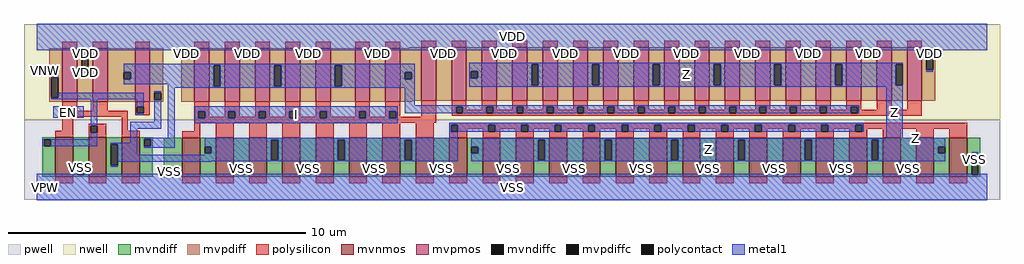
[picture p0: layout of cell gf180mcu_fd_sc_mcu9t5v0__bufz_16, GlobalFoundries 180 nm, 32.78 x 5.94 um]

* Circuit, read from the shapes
.subckt gf180mcu_fd_sc_mcu9t5v0__bufz_16 EN I Z VDD VNW VPW VSS
XM1 VSS EN n1 VPW nfet_06v0 w=1.32u l=0.6u
XM2 n2 n1 VSS VPW nfet_06v0 w=1.32u l=0.6u
XM3 n3 EN n2 VPW nfet_06v0 w=1.32u l=0.6u
XM4 n2 I VSS VPW nfet_06v0 w=1.32u l=0.6u m=8
XM5 Z n2 VSS VPW nfet_06v0 w=1.32u l=0.6u m=16
XM6 VDD EN n1 VNW pfet_06v0 w=1.8u l=0.5u
XM7 n3 EN VDD VNW pfet_06v0 w=1.8u l=0.5u
XM8 n2 n1 n3 VNW pfet_06v0 w=1.8u l=0.5u
XM9 n3 I VDD VNW pfet_06v0 w=1.8u l=0.5u m=8
XM10 Z n3 VDD VNW pfet_06v0 w=1.8u l=0.5u m=16
.ends

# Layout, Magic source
magic
tech gf180mcuD
magscale 1 10
<< nwell >>
rect -86 453 6470 1094
<< pwell >>
rect -86 -86 6470 453
<< mvnmos >>
rect 124 69 244 333
rect 348 69 468 333
rect 572 69 692 333
rect 978 68 1098 332
rect 1202 68 1322 332
rect 1426 68 1546 332
rect 1650 68 1770 332
rect 1874 68 1994 332
rect 2098 68 2218 332
rect 2322 68 2442 332
rect 2546 68 2666 332
rect 2770 68 2890 332
rect 2994 68 3114 332
rect 3218 68 3338 332
rect 3442 68 3562 332
rect 3666 68 3786 332
rect 3890 68 4010 332
rect 4114 68 4234 332
rect 4338 68 4458 332
rect 4562 68 4682 332
rect 4786 68 4906 332
rect 5010 68 5130 332
rect 5234 68 5354 332
rect 5458 68 5578 332
rect 5682 68 5802 332
rect 5906 68 6026 332
rect 6130 68 6250 332
<< mvpmos >>
rect 172 573 272 933
rect 376 573 476 933
rect 660 573 760 933
rect 1058 573 1158 933
rect 1262 573 1362 933
rect 1466 573 1566 933
rect 1670 573 1770 933
rect 1874 573 1974 933
rect 2138 573 2238 933
rect 2342 573 2442 933
rect 2582 580 2682 940
rect 2786 580 2886 940
rect 2990 580 3090 940
rect 3194 580 3294 940
rect 3398 580 3498 940
rect 3602 580 3702 940
rect 3806 580 3906 940
rect 4010 580 4110 940
rect 4214 580 4314 940
rect 4418 580 4518 940
rect 4622 580 4722 940
rect 4826 580 4926 940
rect 5030 580 5130 940
rect 5234 580 5334 940
rect 5438 580 5538 940
rect 5642 580 5742 940
rect 5846 580 5946 940
<< mvndiff >>
rect 36 320 124 333
rect 36 274 49 320
rect 95 274 124 320
rect 36 69 124 274
rect 244 128 348 333
rect 244 82 273 128
rect 319 82 348 128
rect 244 69 348 82
rect 468 287 572 333
rect 468 147 497 287
rect 543 147 572 287
rect 468 69 572 147
rect 692 320 780 333
rect 692 274 721 320
rect 767 274 780 320
rect 692 69 780 274
rect 852 125 978 332
rect 852 79 865 125
rect 911 79 978 125
rect 852 68 978 79
rect 1098 272 1202 332
rect 1098 226 1127 272
rect 1173 226 1202 272
rect 1098 68 1202 226
rect 1322 127 1426 332
rect 1322 81 1351 127
rect 1397 81 1426 127
rect 1322 68 1426 81
rect 1546 319 1650 332
rect 1546 179 1575 319
rect 1621 179 1650 319
rect 1546 68 1650 179
rect 1770 127 1874 332
rect 1770 81 1799 127
rect 1845 81 1874 127
rect 1770 68 1874 81
rect 1994 319 2098 332
rect 1994 179 2023 319
rect 2069 179 2098 319
rect 1994 68 2098 179
rect 2218 127 2322 332
rect 2218 81 2247 127
rect 2293 81 2322 127
rect 2218 68 2322 81
rect 2442 319 2546 332
rect 2442 179 2471 319
rect 2517 179 2546 319
rect 2442 68 2546 179
rect 2666 127 2770 332
rect 2666 81 2695 127
rect 2741 81 2770 127
rect 2666 68 2770 81
rect 2890 272 2994 332
rect 2890 226 2919 272
rect 2965 226 2994 272
rect 2890 68 2994 226
rect 3114 127 3218 332
rect 3114 81 3143 127
rect 3189 81 3218 127
rect 3114 68 3218 81
rect 3338 319 3442 332
rect 3338 179 3367 319
rect 3413 179 3442 319
rect 3338 68 3442 179
rect 3562 127 3666 332
rect 3562 81 3591 127
rect 3637 81 3666 127
rect 3562 68 3666 81
rect 3786 319 3890 332
rect 3786 179 3815 319
rect 3861 179 3890 319
rect 3786 68 3890 179
rect 4010 127 4114 332
rect 4010 81 4039 127
rect 4085 81 4114 127
rect 4010 68 4114 81
rect 4234 319 4338 332
rect 4234 179 4263 319
rect 4309 179 4338 319
rect 4234 68 4338 179
rect 4458 127 4562 332
rect 4458 81 4487 127
rect 4533 81 4562 127
rect 4458 68 4562 81
rect 4682 319 4786 332
rect 4682 179 4711 319
rect 4757 179 4786 319
rect 4682 68 4786 179
rect 4906 127 5010 332
rect 4906 81 4935 127
rect 4981 81 5010 127
rect 4906 68 5010 81
rect 5130 319 5234 332
rect 5130 179 5159 319
rect 5205 179 5234 319
rect 5130 68 5234 179
rect 5354 127 5458 332
rect 5354 81 5383 127
rect 5429 81 5458 127
rect 5354 68 5458 81
rect 5578 319 5682 332
rect 5578 179 5607 319
rect 5653 179 5682 319
rect 5578 68 5682 179
rect 5802 127 5906 332
rect 5802 81 5831 127
rect 5877 81 5906 127
rect 5802 68 5906 81
rect 6026 272 6130 332
rect 6026 226 6055 272
rect 6101 226 6130 272
rect 6026 68 6130 226
rect 6250 221 6338 332
rect 6250 81 6279 221
rect 6325 81 6338 221
rect 6250 68 6338 81
rect 852 66 918 68
<< mvpdiff >>
rect 2502 933 2582 940
rect 84 739 172 933
rect 84 599 97 739
rect 143 599 172 739
rect 84 573 172 599
rect 272 920 376 933
rect 272 780 301 920
rect 347 780 376 920
rect 272 573 376 780
rect 476 771 660 933
rect 476 725 585 771
rect 631 725 660 771
rect 476 573 660 725
rect 760 632 848 933
rect 760 586 789 632
rect 835 586 848 632
rect 760 573 848 586
rect 970 920 1058 933
rect 970 874 983 920
rect 1029 874 1058 920
rect 970 573 1058 874
rect 1158 817 1262 933
rect 1158 677 1187 817
rect 1233 677 1262 817
rect 1158 573 1262 677
rect 1362 920 1466 933
rect 1362 874 1391 920
rect 1437 874 1466 920
rect 1362 573 1466 874
rect 1566 817 1670 933
rect 1566 677 1595 817
rect 1641 677 1670 817
rect 1566 573 1670 677
rect 1770 920 1874 933
rect 1770 874 1799 920
rect 1845 874 1874 920
rect 1770 573 1874 874
rect 1974 817 2138 933
rect 1974 677 2003 817
rect 2049 677 2138 817
rect 1974 573 2138 677
rect 2238 920 2342 933
rect 2238 874 2267 920
rect 2313 874 2342 920
rect 2238 573 2342 874
rect 2442 770 2582 933
rect 2442 724 2471 770
rect 2517 724 2582 770
rect 2442 580 2582 724
rect 2682 927 2786 940
rect 2682 881 2711 927
rect 2757 881 2786 927
rect 2682 580 2786 881
rect 2886 778 2990 940
rect 2886 732 2915 778
rect 2961 732 2990 778
rect 2886 580 2990 732
rect 3090 927 3194 940
rect 3090 881 3119 927
rect 3165 881 3194 927
rect 3090 580 3194 881
rect 3294 824 3398 940
rect 3294 684 3323 824
rect 3369 684 3398 824
rect 3294 580 3398 684
rect 3498 927 3602 940
rect 3498 881 3527 927
rect 3573 881 3602 927
rect 3498 580 3602 881
rect 3702 824 3806 940
rect 3702 684 3731 824
rect 3777 684 3806 824
rect 3702 580 3806 684
rect 3906 927 4010 940
rect 3906 881 3935 927
rect 3981 881 4010 927
rect 3906 580 4010 881
rect 4110 824 4214 940
rect 4110 684 4139 824
rect 4185 684 4214 824
rect 4110 580 4214 684
rect 4314 927 4418 940
rect 4314 881 4343 927
rect 4389 881 4418 927
rect 4314 580 4418 881
rect 4518 824 4622 940
rect 4518 684 4547 824
rect 4593 684 4622 824
rect 4518 580 4622 684
rect 4722 927 4826 940
rect 4722 881 4751 927
rect 4797 881 4826 927
rect 4722 580 4826 881
rect 4926 824 5030 940
rect 4926 684 4955 824
rect 5001 684 5030 824
rect 4926 580 5030 684
rect 5130 927 5234 940
rect 5130 881 5159 927
rect 5205 881 5234 927
rect 5130 580 5234 881
rect 5334 824 5438 940
rect 5334 684 5363 824
rect 5409 684 5438 824
rect 5334 580 5438 684
rect 5538 927 5642 940
rect 5538 881 5567 927
rect 5613 881 5642 927
rect 5538 580 5642 881
rect 5742 824 5846 940
rect 5742 684 5771 824
rect 5817 684 5846 824
rect 5742 580 5846 684
rect 5946 927 6034 940
rect 5946 787 5975 927
rect 6021 787 6034 927
rect 5946 580 6034 787
rect 2442 573 2522 580
<< mvndiffc >>
rect 49 274 95 320
rect 273 82 319 128
rect 497 147 543 287
rect 721 274 767 320
rect 865 79 911 125
rect 1127 226 1173 272
rect 1351 81 1397 127
rect 1575 179 1621 319
rect 1799 81 1845 127
rect 2023 179 2069 319
rect 2247 81 2293 127
rect 2471 179 2517 319
rect 2695 81 2741 127
rect 2919 226 2965 272
rect 3143 81 3189 127
rect 3367 179 3413 319
rect 3591 81 3637 127
rect 3815 179 3861 319
rect 4039 81 4085 127
rect 4263 179 4309 319
rect 4487 81 4533 127
rect 4711 179 4757 319
rect 4935 81 4981 127
rect 5159 179 5205 319
rect 5383 81 5429 127
rect 5607 179 5653 319
rect 5831 81 5877 127
rect 6055 226 6101 272
rect 6279 81 6325 221
<< mvpdiffc >>
rect 97 599 143 739
rect 301 780 347 920
rect 585 725 631 771
rect 789 586 835 632
rect 983 874 1029 920
rect 1187 677 1233 817
rect 1391 874 1437 920
rect 1595 677 1641 817
rect 1799 874 1845 920
rect 2003 677 2049 817
rect 2267 874 2313 920
rect 2471 724 2517 770
rect 2711 881 2757 927
rect 2915 732 2961 778
rect 3119 881 3165 927
rect 3323 684 3369 824
rect 3527 881 3573 927
rect 3731 684 3777 824
rect 3935 881 3981 927
rect 4139 684 4185 824
rect 4343 881 4389 927
rect 4547 684 4593 824
rect 4751 881 4797 927
rect 4955 684 5001 824
rect 5159 881 5205 927
rect 5363 684 5409 824
rect 5567 881 5613 927
rect 5771 684 5817 824
rect 5975 787 6021 927
<< polysilicon >>
rect 172 933 272 977
rect 376 933 476 977
rect 660 933 760 977
rect 1058 933 1158 977
rect 1262 933 1362 977
rect 1466 933 1566 977
rect 1670 933 1770 977
rect 1874 933 1974 977
rect 2138 933 2238 977
rect 2342 933 2442 977
rect 2582 940 2682 984
rect 2786 940 2886 984
rect 2990 940 3090 984
rect 3194 940 3294 984
rect 3398 940 3498 984
rect 3602 940 3702 984
rect 3806 940 3906 984
rect 4010 940 4110 984
rect 4214 940 4314 984
rect 4418 940 4518 984
rect 4622 940 4722 984
rect 4826 940 4926 984
rect 5030 940 5130 984
rect 5234 940 5334 984
rect 5438 940 5538 984
rect 5642 940 5742 984
rect 5846 940 5946 984
rect 172 523 272 573
rect 172 477 185 523
rect 231 513 272 523
rect 376 513 476 573
rect 660 540 760 573
rect 231 477 612 513
rect 660 494 673 540
rect 719 494 760 540
rect 660 481 760 494
rect 1058 509 1158 573
rect 172 473 612 477
rect 172 377 244 473
rect 124 333 244 377
rect 348 412 468 425
rect 348 366 361 412
rect 407 366 468 412
rect 348 333 468 366
rect 572 377 612 473
rect 1058 463 1085 509
rect 1131 473 1158 509
rect 1262 509 1362 573
rect 1262 473 1287 509
rect 1131 463 1287 473
rect 1333 473 1362 509
rect 1466 509 1566 573
rect 1466 473 1492 509
rect 1333 463 1492 473
rect 1538 473 1566 509
rect 1670 509 1770 573
rect 1670 473 1695 509
rect 1538 463 1695 473
rect 1741 473 1770 509
rect 1874 509 1974 573
rect 1874 473 1901 509
rect 1741 463 1901 473
rect 1947 473 1974 509
rect 2138 509 2238 573
rect 2138 473 2165 509
rect 1947 463 2165 473
rect 2211 473 2238 509
rect 2342 509 2442 573
rect 2342 473 2369 509
rect 2211 463 2369 473
rect 2415 473 2442 509
rect 2582 473 2682 580
rect 2786 540 2886 580
rect 2786 494 2816 540
rect 2862 520 2886 540
rect 2990 540 3090 580
rect 2990 520 3019 540
rect 2862 494 3019 520
rect 3065 520 3090 540
rect 3194 540 3294 580
rect 3194 520 3223 540
rect 3065 494 3223 520
rect 3269 520 3294 540
rect 3398 540 3498 580
rect 3398 520 3427 540
rect 3269 494 3427 520
rect 3473 520 3498 540
rect 3602 540 3702 580
rect 3602 520 3629 540
rect 3473 494 3629 520
rect 3675 520 3702 540
rect 3806 540 3906 580
rect 3806 520 3833 540
rect 3675 494 3833 520
rect 3879 520 3906 540
rect 4010 540 4110 580
rect 4010 520 4038 540
rect 3879 494 4038 520
rect 4084 520 4110 540
rect 4214 540 4314 580
rect 4214 520 4241 540
rect 4084 494 4241 520
rect 4287 520 4314 540
rect 4418 540 4518 580
rect 4418 520 4447 540
rect 4287 494 4447 520
rect 4493 520 4518 540
rect 4622 540 4722 580
rect 4622 520 4651 540
rect 4493 494 4651 520
rect 4697 520 4722 540
rect 4826 540 4926 580
rect 4826 520 4854 540
rect 4697 494 4854 520
rect 4900 520 4926 540
rect 5030 540 5130 580
rect 5030 520 5058 540
rect 4900 494 5058 520
rect 5104 520 5130 540
rect 5234 540 5334 580
rect 5234 520 5260 540
rect 5104 494 5260 520
rect 5306 520 5334 540
rect 5438 540 5538 580
rect 5438 520 5467 540
rect 5306 494 5467 520
rect 5513 520 5538 540
rect 5642 520 5742 580
rect 5846 520 5946 580
rect 5513 494 5946 520
rect 2786 480 5946 494
rect 2415 463 2682 473
rect 1058 433 2682 463
rect 572 333 692 377
rect 1058 376 1098 433
rect 978 332 1098 376
rect 1202 332 1322 433
rect 1426 332 1546 433
rect 1650 332 1770 433
rect 1874 332 1994 433
rect 2098 332 2218 433
rect 2322 332 2442 433
rect 2546 332 2666 433
rect 2770 419 6250 432
rect 2770 373 2783 419
rect 2829 392 3032 419
rect 2829 373 2890 392
rect 2770 332 2890 373
rect 2994 373 3032 392
rect 3078 392 3255 419
rect 3078 373 3114 392
rect 2994 332 3114 373
rect 3218 373 3255 392
rect 3301 392 3478 419
rect 3301 373 3338 392
rect 3218 332 3338 373
rect 3442 373 3478 392
rect 3524 392 3703 419
rect 3524 373 3562 392
rect 3442 332 3562 373
rect 3666 373 3703 392
rect 3749 392 3928 419
rect 3749 373 3786 392
rect 3666 332 3786 373
rect 3890 373 3928 392
rect 3974 392 4147 419
rect 3974 373 4010 392
rect 3890 332 4010 373
rect 4114 373 4147 392
rect 4193 392 4374 419
rect 4193 373 4234 392
rect 4114 332 4234 373
rect 4338 373 4374 392
rect 4420 392 4599 419
rect 4420 373 4458 392
rect 4338 332 4458 373
rect 4562 373 4599 392
rect 4645 392 4824 419
rect 4645 373 4682 392
rect 4562 332 4682 373
rect 4786 373 4824 392
rect 4870 392 5048 419
rect 4870 373 4906 392
rect 4786 332 4906 373
rect 5010 373 5048 392
rect 5094 392 5270 419
rect 5094 373 5130 392
rect 5010 332 5130 373
rect 5234 373 5270 392
rect 5316 392 5498 419
rect 5316 373 5354 392
rect 5234 332 5354 373
rect 5458 373 5498 392
rect 5544 392 6250 419
rect 5544 373 5578 392
rect 5458 332 5578 373
rect 5682 332 5802 392
rect 5906 332 6026 392
rect 6130 332 6250 392
rect 124 25 244 69
rect 348 25 468 69
rect 572 25 692 69
rect 978 24 1098 68
rect 1202 24 1322 68
rect 1426 24 1546 68
rect 1650 24 1770 68
rect 1874 24 1994 68
rect 2098 24 2218 68
rect 2322 24 2442 68
rect 2546 24 2666 68
rect 2770 24 2890 68
rect 2994 24 3114 68
rect 3218 24 3338 68
rect 3442 24 3562 68
rect 3666 24 3786 68
rect 3890 24 4010 68
rect 4114 24 4234 68
rect 4338 24 4458 68
rect 4562 24 4682 68
rect 4786 24 4906 68
rect 5010 24 5130 68
rect 5234 24 5354 68
rect 5458 24 5578 68
rect 5682 24 5802 68
rect 5906 24 6026 68
rect 6130 24 6250 68
<< polycontact >>
rect 185 477 231 523
rect 673 494 719 540
rect 361 366 407 412
rect 1085 463 1131 509
rect 1287 463 1333 509
rect 1492 463 1538 509
rect 1695 463 1741 509
rect 1901 463 1947 509
rect 2165 463 2211 509
rect 2369 463 2415 509
rect 2816 494 2862 540
rect 3019 494 3065 540
rect 3223 494 3269 540
rect 3427 494 3473 540
rect 3629 494 3675 540
rect 3833 494 3879 540
rect 4038 494 4084 540
rect 4241 494 4287 540
rect 4447 494 4493 540
rect 4651 494 4697 540
rect 4854 494 4900 540
rect 5058 494 5104 540
rect 5260 494 5306 540
rect 5467 494 5513 540
rect 2783 373 2829 419
rect 3032 373 3078 419
rect 3255 373 3301 419
rect 3478 373 3524 419
rect 3703 373 3749 419
rect 3928 373 3974 419
rect 4147 373 4193 419
rect 4374 373 4420 419
rect 4599 373 4645 419
rect 4824 373 4870 419
rect 5048 373 5094 419
rect 5270 373 5316 419
rect 5498 373 5544 419
<< metal1 >>
rect 0 927 6384 1098
rect 0 920 2711 927
rect 0 918 301 920
rect 347 918 983 920
rect 972 874 983 918
rect 1029 918 1391 920
rect 1029 874 1040 918
rect 1380 874 1391 918
rect 1437 918 1799 920
rect 1437 874 1448 918
rect 1788 874 1799 918
rect 1845 918 2267 920
rect 1845 874 1856 918
rect 2256 874 2267 918
rect 2313 918 2711 920
rect 2313 874 2324 918
rect 2700 881 2711 918
rect 2757 918 3119 927
rect 2757 881 2768 918
rect 3108 881 3119 918
rect 3165 918 3527 927
rect 3165 881 3176 918
rect 3516 881 3527 918
rect 3573 918 3935 927
rect 3573 881 3584 918
rect 3924 881 3935 918
rect 3981 918 4343 927
rect 3981 881 3992 918
rect 4332 881 4343 918
rect 4389 918 4751 927
rect 4389 881 4400 918
rect 4740 881 4751 918
rect 4797 918 5159 927
rect 4797 881 4808 918
rect 5148 881 5159 918
rect 5205 918 5567 927
rect 5205 881 5216 918
rect 5556 881 5567 918
rect 5613 918 5975 927
rect 5613 881 5624 918
rect 301 769 347 780
rect 585 817 2540 828
rect 585 771 1187 817
rect 97 739 143 750
rect 631 725 1187 771
rect 585 689 1187 725
rect 881 677 1187 689
rect 1233 677 1595 817
rect 1641 677 2003 817
rect 2049 770 2540 817
rect 2049 724 2471 770
rect 2517 724 2540 770
rect 2049 677 2540 724
rect 881 666 2540 677
rect 2904 824 5818 835
rect 2904 778 3323 824
rect 2904 732 2915 778
rect 2961 732 3323 778
rect 2904 684 3323 732
rect 3369 684 3731 824
rect 3777 684 4139 824
rect 4185 684 4547 824
rect 4593 684 4955 824
rect 5001 684 5363 824
rect 5409 684 5771 824
rect 5817 684 5818 824
rect 6021 918 6384 927
rect 5975 776 6021 787
rect 2904 673 5818 684
rect 143 599 719 634
rect 97 588 719 599
rect 109 523 315 542
rect 109 477 185 523
rect 231 477 315 523
rect 109 466 315 477
rect 361 412 407 588
rect 673 540 719 588
rect 673 483 719 494
rect 789 632 835 643
rect 789 437 835 586
rect 361 320 407 366
rect 38 274 49 320
rect 95 274 407 320
rect 629 391 835 437
rect 629 298 675 391
rect 881 331 927 666
rect 2471 551 2540 666
rect 1060 509 2425 542
rect 1060 463 1085 509
rect 1131 463 1287 509
rect 1333 463 1492 509
rect 1538 463 1695 509
rect 1741 463 1901 509
rect 1947 463 2165 509
rect 2211 463 2369 509
rect 2415 463 2425 509
rect 2471 540 5524 551
rect 2471 494 2816 540
rect 2862 494 3019 540
rect 3065 494 3223 540
rect 3269 494 3427 540
rect 3473 494 3629 540
rect 3675 494 3833 540
rect 3879 494 4038 540
rect 4084 494 4241 540
rect 4287 494 4447 540
rect 4493 494 4651 540
rect 4697 494 4854 540
rect 4900 494 5058 540
rect 5104 494 5260 540
rect 5306 494 5467 540
rect 5513 494 5524 540
rect 1060 430 2425 463
rect 497 287 675 298
rect 543 217 675 287
rect 721 320 927 331
rect 2771 419 5555 432
rect 2771 373 2783 419
rect 2829 373 3032 419
rect 3078 373 3255 419
rect 3301 373 3478 419
rect 3524 373 3703 419
rect 3749 373 3928 419
rect 3974 373 4147 419
rect 4193 373 4374 419
rect 4420 373 4599 419
rect 4645 373 4824 419
rect 4870 373 5048 419
rect 5094 373 5270 419
rect 5316 373 5498 419
rect 5544 373 5555 419
rect 2771 330 2829 373
rect 767 274 927 320
rect 721 263 927 274
rect 1127 319 2829 330
rect 5706 330 5818 673
rect 5706 327 6101 330
rect 1127 272 1575 319
rect 1173 226 1575 272
rect 1127 217 1575 226
rect 543 179 1575 217
rect 1621 179 2023 319
rect 2069 179 2471 319
rect 2517 179 2829 319
rect 543 173 2829 179
rect 2919 319 6101 327
rect 2919 272 3367 319
rect 2965 226 3367 272
rect 2919 179 3367 226
rect 3413 179 3815 319
rect 3861 179 4263 319
rect 4309 179 4711 319
rect 4757 179 5159 319
rect 5205 179 5607 319
rect 5653 272 6101 319
rect 5653 226 6055 272
rect 5653 179 6101 226
rect 2919 173 6101 179
rect 6279 221 6325 232
rect 543 171 1173 173
rect 273 128 319 139
rect 497 136 543 147
rect 0 82 273 90
rect 854 90 865 125
rect 319 82 865 90
rect 0 79 865 82
rect 911 90 922 125
rect 1340 90 1351 127
rect 911 81 1351 90
rect 1397 90 1408 127
rect 1788 90 1799 127
rect 1397 81 1799 90
rect 1845 90 1856 127
rect 2236 90 2247 127
rect 1845 81 2247 90
rect 2293 90 2304 127
rect 2681 90 2695 127
rect 2293 81 2695 90
rect 2741 90 2756 127
rect 3132 90 3143 127
rect 2741 81 3143 90
rect 3189 90 3200 127
rect 3580 90 3591 127
rect 3189 81 3591 90
rect 3637 90 3648 127
rect 4028 90 4039 127
rect 3637 81 4039 90
rect 4085 90 4096 127
rect 4476 90 4487 127
rect 4085 81 4487 90
rect 4533 90 4544 127
rect 4924 90 4935 127
rect 4533 81 4935 90
rect 4981 90 4992 127
rect 5372 90 5383 127
rect 4981 81 5383 90
rect 5429 90 5440 127
rect 5820 90 5831 127
rect 5429 81 5831 90
rect 5877 90 5888 127
rect 5877 81 6279 90
rect 6325 81 6384 90
rect 911 79 6384 81
rect 0 -90 6384 79
<< labels >>
flabel metal1 s 109 466 315 542 0 FreeSans 200 0 0 0 EN
port 1 nsew default input
flabel metal1 s 1060 430 2425 542 0 FreeSans 200 0 0 0 I
port 2 nsew default input
flabel metal1 s 0 918 6384 1098 0 FreeSans 200 0 0 0 VDD
port 4 nsew power bidirectional abutment
flabel metal1 s 6279 139 6325 232 0 FreeSans 200 0 0 0 VSS
port 7 nsew ground bidirectional abutment
flabel metal1 s 2904 673 5818 835 0 FreeSans 200 0 0 0 Z
port 3 nsew default output
flabel nwell s 10 734 110 834 0 FreeSans 400 0 0 0 VNW
port 5 nsew power bidirectional
flabel pwell s 10 -50 110 50 0 FreeSans 400 0 0 0 VPW
port 6 nsew ground bidirectional
rlabel metal1 s 5706 330 5818 673 1 Z
port 3 nsew default output
rlabel metal1 s 5706 327 6101 330 1 Z
port 3 nsew default output
rlabel metal1 s 2919 173 6101 327 1 Z
port 3 nsew default output
rlabel metal1 s 5975 881 6021 918 1 VDD
port 4 nsew power bidirectional abutment
rlabel metal1 s 5556 881 5624 918 1 VDD
port 4 nsew power bidirectional abutment
rlabel metal1 s 5148 881 5216 918 1 VDD
port 4 nsew power bidirectional abutment
rlabel metal1 s 4740 881 4808 918 1 VDD
port 4 nsew power bidirectional abutment
rlabel metal1 s 4332 881 4400 918 1 VDD
port 4 nsew power bidirectional abutment
rlabel metal1 s 3924 881 3992 918 1 VDD
port 4 nsew power bidirectional abutment
rlabel metal1 s 3516 881 3584 918 1 VDD
port 4 nsew power bidirectional abutment
rlabel metal1 s 3108 881 3176 918 1 VDD
port 4 nsew power bidirectional abutment
rlabel metal1 s 2700 881 2768 918 1 VDD
port 4 nsew power bidirectional abutment
rlabel metal1 s 2256 881 2324 918 1 VDD
port 4 nsew power bidirectional abutment
rlabel metal1 s 1788 881 1856 918 1 VDD
port 4 nsew power bidirectional abutment
rlabel metal1 s 1380 881 1448 918 1 VDD
port 4 nsew power bidirectional abutment
rlabel metal1 s 972 881 1040 918 1 VDD
port 4 nsew power bidirectional abutment
rlabel metal1 s 301 881 347 918 1 VDD
port 4 nsew power bidirectional abutment
rlabel metal1 s 5975 874 6021 881 1 VDD
port 4 nsew power bidirectional abutment
rlabel metal1 s 2256 874 2324 881 1 VDD
port 4 nsew power bidirectional abutment
rlabel metal1 s 1788 874 1856 881 1 VDD
port 4 nsew power bidirectional abutment
rlabel metal1 s 1380 874 1448 881 1 VDD
port 4 nsew power bidirectional abutment
rlabel metal1 s 972 874 1040 881 1 VDD
port 4 nsew power bidirectional abutment
rlabel metal1 s 301 874 347 881 1 VDD
port 4 nsew power bidirectional abutment
rlabel metal1 s 5975 776 6021 874 1 VDD
port 4 nsew power bidirectional abutment
rlabel metal1 s 301 776 347 874 1 VDD
port 4 nsew power bidirectional abutment
rlabel metal1 s 301 769 347 776 1 VDD
port 4 nsew power bidirectional abutment
rlabel metal1 s 6279 127 6325 139 1 VSS
port 7 nsew ground bidirectional abutment
rlabel metal1 s 273 127 319 139 1 VSS
port 7 nsew ground bidirectional abutment
rlabel metal1 s 6279 125 6325 127 1 VSS
port 7 nsew ground bidirectional abutment
rlabel metal1 s 5820 125 5888 127 1 VSS
port 7 nsew ground bidirectional abutment
rlabel metal1 s 5372 125 5440 127 1 VSS
port 7 nsew ground bidirectional abutment
rlabel metal1 s 4924 125 4992 127 1 VSS
port 7 nsew ground bidirectional abutment
rlabel metal1 s 4476 125 4544 127 1 VSS
port 7 nsew ground bidirectional abutment
rlabel metal1 s 4028 125 4096 127 1 VSS
port 7 nsew ground bidirectional abutment
rlabel metal1 s 3580 125 3648 127 1 VSS
port 7 nsew ground bidirectional abutment
rlabel metal1 s 3132 125 3200 127 1 VSS
port 7 nsew ground bidirectional abutment
rlabel metal1 s 2681 125 2756 127 1 VSS
port 7 nsew ground bidirectional abutment
rlabel metal1 s 2236 125 2304 127 1 VSS
port 7 nsew ground bidirectional abutment
rlabel metal1 s 1788 125 1856 127 1 VSS
port 7 nsew ground bidirectional abutment
rlabel metal1 s 1340 125 1408 127 1 VSS
port 7 nsew ground bidirectional abutment
rlabel metal1 s 273 125 319 127 1 VSS
port 7 nsew ground bidirectional abutment
rlabel metal1 s 6279 90 6325 125 1 VSS
port 7 nsew ground bidirectional abutment
rlabel metal1 s 5820 90 5888 125 1 VSS
port 7 nsew ground bidirectional abutment
rlabel metal1 s 5372 90 5440 125 1 VSS
port 7 nsew ground bidirectional abutment
rlabel metal1 s 4924 90 4992 125 1 VSS
port 7 nsew ground bidirectional abutment
rlabel metal1 s 4476 90 4544 125 1 VSS
port 7 nsew ground bidirectional abutment
rlabel metal1 s 4028 90 4096 125 1 VSS
port 7 nsew ground bidirectional abutment
rlabel metal1 s 3580 90 3648 125 1 VSS
port 7 nsew ground bidirectional abutment
rlabel metal1 s 3132 90 3200 125 1 VSS
port 7 nsew ground bidirectional abutment
rlabel metal1 s 2681 90 2756 125 1 VSS
port 7 nsew ground bidirectional abutment
rlabel metal1 s 2236 90 2304 125 1 VSS
port 7 nsew ground bidirectional abutment
rlabel metal1 s 1788 90 1856 125 1 VSS
port 7 nsew ground bidirectional abutment
rlabel metal1 s 1340 90 1408 125 1 VSS
port 7 nsew ground bidirectional abutment
rlabel metal1 s 854 90 922 125 1 VSS
port 7 nsew ground bidirectional abutment
rlabel metal1 s 273 90 319 125 1 VSS
port 7 nsew ground bidirectional abutment
rlabel metal1 s 0 -90 6384 90 1 VSS
port 7 nsew ground bidirectional abutment
<< properties >>
string FIXED_BBOX 0 0 6384 1008
string GDS_END 1380550
string GDS_FILE $PDKPATH/libs.ref/gf180mcu_fd_sc_mcu9t5v0/gds/gf180mcu_fd_sc_mcu9t5v0.gds
string GDS_START 1367714
string LEFclass core
string LEFsite GF018hv5v_green_sc9
string LEFsymmetry X Y
<< end >>
